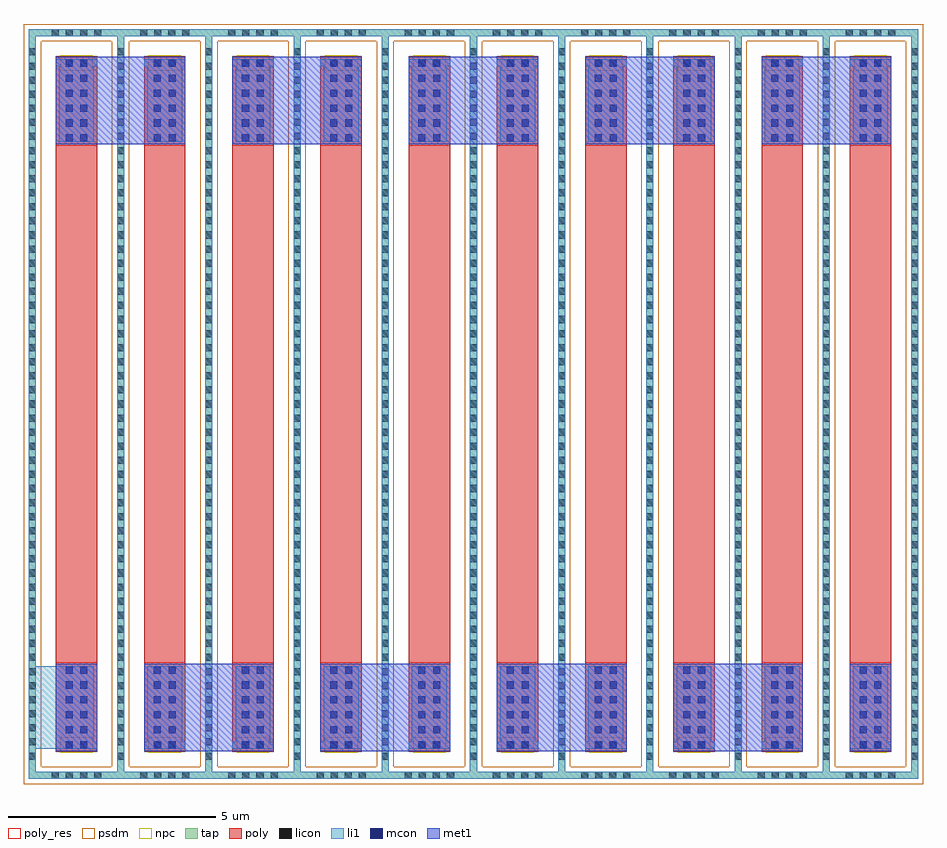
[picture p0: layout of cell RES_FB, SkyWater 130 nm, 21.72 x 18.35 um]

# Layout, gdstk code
import gdstk
lib = gdstk.Library(unit=1e-6, precision=1e-09)
def R(c, l, rs):  # rectangles x0, y0, x1, y1
    for r in rs: c.add(gdstk.rectangle(r[:2], r[2:], *l))
def A(c, l, x, y, w, h, nx, ny, dx, dy):  # array of equal rectangles
    R(c, l, [(x+i*dx, y+j*dy, x+i*dx+w, y+j*dy+h) for i in range(nx) for j in range(ny)])
tap = (65, 44)
poly_res = (66, 13)
poly = (66, 20)
licon = (66, 44)
li1 = (67, 20)
mcon = (67, 44)
met1 = (68, 20)
psdm = (94, 20)
npc = (95, 20)

res_poly = lib.new_cell('res_poly')
R(res_poly, tap, [(-1.15,-9.05,1.15,-8.88), (-1.15,-8.88,-0.98,8.88), (0.98,-8.88,1.15,8.88), (-1.15,8.88,1.15,9.05)])
R(res_poly, poly_res, [(-0.5,-6.25,0.5,6.25)])
R(res_poly, poly, [(-0.5,-8.4,0.5,8.4)])
A(res_poly, licon, -0.595, -9.05, 0.17, 0.17, 4, 2, 0.34, 17.93)
A(res_poly, licon, -1.15, -8.585, 0.17, 0.17, 1, 51, 0, 0.34)
A(res_poly, licon, 0.98, -8.585, 0.17, 0.17, 1, 51, 0, 0.34)
R(res_poly, licon, [(-0.255,-8.32,-0.085,-8.15), (0.085,-8.32,0.255,-8.15), (-0.255,8.15,-0.085,8.32), (0.085,8.15,0.255,8.32)])
R(res_poly, li1, [(-1.15,-9.05,1.15,-8.88), (-1.15,-8.88,-0.98,8.88), (0.98,-8.88,1.15,8.88), (-0.5,-8.32,0.5,-8.15), (-0.42,-8.15,0.42,-6.335), (-0.42,6.335,0.42,8.15), (-0.5,8.15,0.5,8.32), (-1.15,8.88,1.15,9.05)])
A(res_poly, mcon, -0.265, -8.31, 0.17, 0.17, 1, 6, 0, 0.36)
A(res_poly, mcon, 0.095, -8.31, 0.17, 0.17, 1, 6, 0, 0.36)
A(res_poly, mcon, -0.265, 6.34, 0.17, 0.17, 1, 6, 0, 0.36)
A(res_poly, mcon, 0.095, 6.34, 0.17, 0.17, 1, 6, 0, 0.36)
R(res_poly, met1, [(-0.5,-8.38,0.5,-6.275), (-0.5,6.275,0.5,8.38)])
R(res_poly, psdm, [(-1.275,-9.175,1.275,-8.755), (-1.275,-8.755,-0.855,8.755), (0.855,-8.755,1.275,8.755), (-1.275,8.755,1.275,9.175)])
R(res_poly, npc, [(-0.395,-8.42,0.395,-8.05), (-0.395,8.05,0.395,8.42)])

res_fb = lib.new_cell('RES_FB')
res_fb.add(gdstk.FlexPath([(1.775,16.503),(2.905,16.503)], 2.105, ends="flush", simple_path=True, layer=68, datatype=20))  # met1
res_fb.add(gdstk.FlexPath([(3.905,1.847),(5.035,1.847)], 2.105, ends="flush", simple_path=True, layer=68, datatype=20))  # met1
res_fb.add(gdstk.FlexPath([(6.035,16.503),(7.165,16.503)], 2.105, ends="flush", simple_path=True, layer=68, datatype=20))  # met1
res_fb.add(gdstk.FlexPath([(8.165,1.847),(9.295,1.847)], 2.105, ends="flush", simple_path=True, layer=68, datatype=20))  # met1
res_fb.add(gdstk.FlexPath([(10.295,16.503),(11.425,16.503)], 2.105, ends="flush", simple_path=True, layer=68, datatype=20))  # met1
res_fb.add(gdstk.FlexPath([(12.425,1.847),(13.555,1.847)], 2.105, ends="flush", simple_path=True, layer=68, datatype=20))  # met1
res_fb.add(gdstk.FlexPath([(14.555,16.503),(15.685,16.503)], 2.105, ends="flush", simple_path=True, layer=68, datatype=20))  # met1
res_fb.add(gdstk.FlexPath([(16.685,1.847),(17.815,1.847)], 2.105, ends="flush", simple_path=True, layer=68, datatype=20))  # met1
res_fb.add(gdstk.FlexPath([(18.815,16.503),(19.945,16.503)], 2.105, ends="flush", simple_path=True, layer=68, datatype=20))  # met1
res_fb.add(gdstk.FlexPath([(0.855,1.848),(0.295,1.848)], 1.985, ends="flush", simple_path=True, layer=67, datatype=20))  # li1
res_fb.add(gdstk.Reference(res_poly, (1.275,9.175)))
res_fb.add(gdstk.Reference(res_poly, (3.405,9.175)))
res_fb.add(gdstk.Reference(res_poly, (5.535,9.175)))
res_fb.add(gdstk.Reference(res_poly, (7.665,9.175)))
res_fb.add(gdstk.Reference(res_poly, (9.795,9.175)))
res_fb.add(gdstk.Reference(res_poly, (11.925,9.175)))
res_fb.add(gdstk.Reference(res_poly, (14.055,9.175)))
res_fb.add(gdstk.Reference(res_poly, (16.185,9.175)))
res_fb.add(gdstk.Reference(res_poly, (18.315,9.175)))
res_fb.add(gdstk.Reference(res_poly, (20.445,9.175)))

lib.write_gds('RES_FB.gds')
